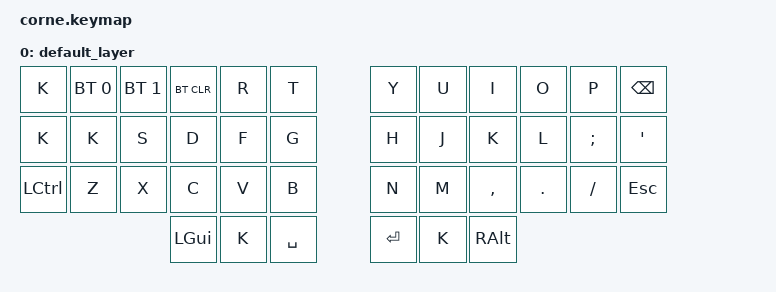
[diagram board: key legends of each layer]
/*
 * Copyright (c) 2020 The ZMK Contributors
 *
 * SPDX-License-Identifier: MIT
 */

#include <behaviors.dtsi>
#include <dt-bindings/zmk/keys.h>
#include <dt-bindings/zmk/bt.h>
#include <dt-bindings/zmk/rgb.h>

/ {
        keymap {
                compatible = "zmk,keymap";

                default_layer {
// -----------------------------------------------------------------------------------------
// |  TAB |  Q  |  W  |  E  |  R  |  T  |   |  Y  |  U   |  I  |  O  |  P  | BKSP |
// | SHFT |  A  |  S  |  D  |  F  |  G  |   |  H  |  J   |  K  |  L  |  ;  |  '   |
// | CTRL |  Z  |  X  |  C  |  V  |  B  |   |  N  |  M   |  ,  |  .  |  /  | ESC  |
//                    | GUI | LWR | SPC |   | ENT | RSE  | ALT |
                        bindings = <
   &kp K   &bt BT_SEL 0 &bt BT_SEL 1 &bt BT_CLR &kp R &kp T   &kp Y &kp U  &kp I     &kp O   &kp P    &kp BSPC
   &kp K &kp K &kp S &kp D &kp F &kp G   &kp H &kp J  &kp K     &kp L   &kp SEMI &kp SQT
   &kp LCTRL &kp Z &kp X &kp C &kp V &kp B   &kp N &kp M  &kp COMMA &kp DOT &kp FSLH &kp ESC
                  &kp LGUI &kp K &kp SPACE   &kp RET &kp K &kp RALT
                        >;
                };

        };
};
